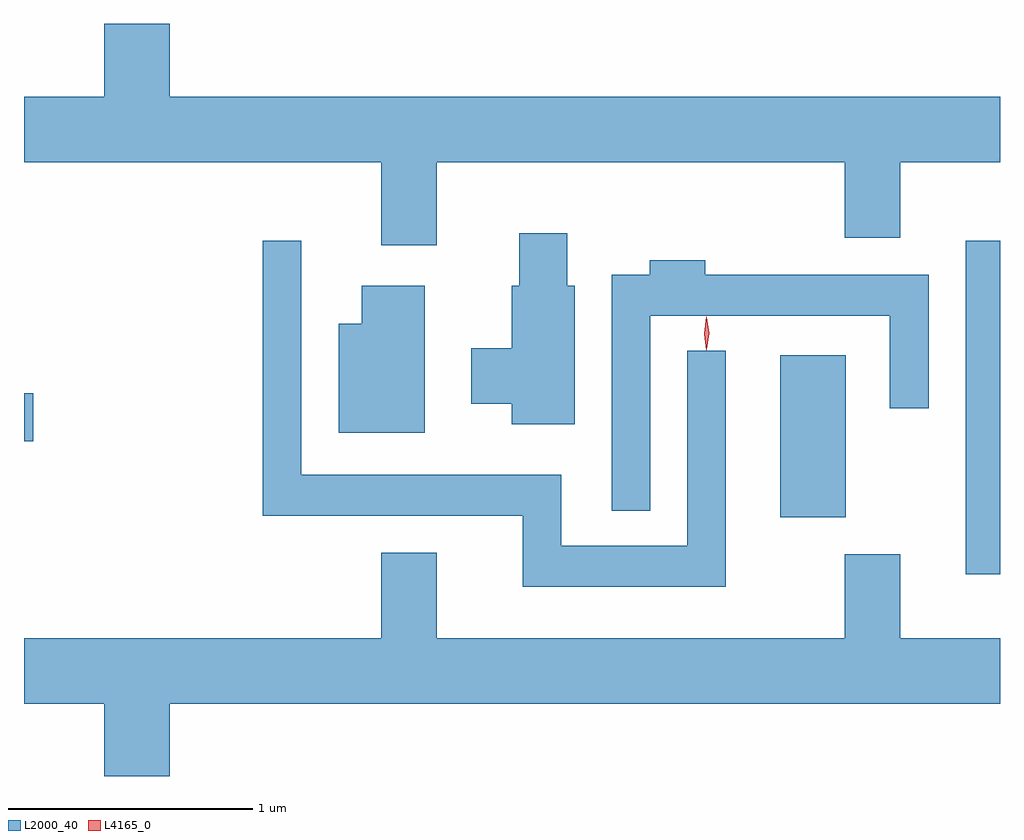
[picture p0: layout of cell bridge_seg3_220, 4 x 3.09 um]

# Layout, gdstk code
import gdstk
lib = gdstk.Library(unit=1e-6, precision=1e-09)
def R(c, l, rs):  # rectangles x0, y0, x1, y1
    for r in rs: c.add(gdstk.rectangle(r[:2], r[2:], *l))
def P(c, l, *ps):  # polygons
    for p in ps: c.add(gdstk.Polygon(p, *l))
L2000_40 = (2000, 40)
L4165_0 = (4165, 0)

bridge_seg3_220 = lib.new_cell('bridge_seg3_220')
R(bridge_seg3_220, L2000_40, [(937.886,1168.726,938.027,1170.093), (937.126,1168.961,937.394,1169.624), (934.027,1169.271,934.064,1169.469)])
P(bridge_seg3_220, L2000_40, [(935.719,1170.416),(937.391,1170.416),(937.391,1170.106),(937.619,1170.106),(937.619,1170.416),(938.027,1170.416),(938.027,1170.684),(934.624,1170.684),(934.624,1170.984),(934.356,1170.984),(934.356,1170.684),(934.027,1170.684),(934.027,1170.416),(935.491,1170.416),(935.491,1170.076),(935.719,1170.076)],
  [(936.284,1169.909),(936.254,1169.909),(936.254,1170.124),(936.056,1170.124),(936.056,1169.909),(936.026,1169.909),(936.026,1169.654),(935.861,1169.654),(935.861,1169.426),(936.026,1169.426),(936.026,1169.341),(936.284,1169.341)],
  [(936.904,1169.643),(936.746,1169.643),(936.746,1168.844),(936.229,1168.844),(936.229,1169.134),(935.164,1169.134),(935.164,1170.093),(935.006,1170.093),(935.006,1168.966),(936.071,1168.966),(936.071,1168.676),(936.904,1168.676)],
  [(936.594,1169.786),(937.576,1169.786),(937.576,1169.408),(937.734,1169.408),(937.734,1169.954),(936.819,1169.954),(936.819,1170.014),(936.591,1170.014),(936.591,1169.954),(936.436,1169.954),(936.436,1168.988),(936.594,1168.988)],
  [(935.669,1169.909),(935.411,1169.909),(935.411,1169.754),(935.316,1169.754),(935.316,1169.306),(935.669,1169.306)],
  [(934.624,1168.196),(938.027,1168.196),(938.027,1168.464),(937.619,1168.464),(937.619,1168.809),(937.391,1168.809),(937.391,1168.464),(935.719,1168.464),(935.719,1168.814),(935.491,1168.814),(935.491,1168.464),(934.027,1168.464),(934.027,1168.196),(934.356,1168.196),(934.356,1167.898),(934.624,1167.898)])
P(bridge_seg3_220, L4165_0, [(936.825,1169.647),(936.824,1169.648),(936.815,1169.714),(936.824,1169.78),(936.825,1169.781),(936.825,1169.78),(936.835,1169.714),(936.825,1169.648)],
  [(936.823,1169.644),(936.814,1169.713),(936.823,1169.782),(936.823,1169.783),(936.824,1169.782),(936.834,1169.713),(936.824,1169.644),(936.824,1169.644)])

lib.write_gds('bridge_seg3_220.gds')
